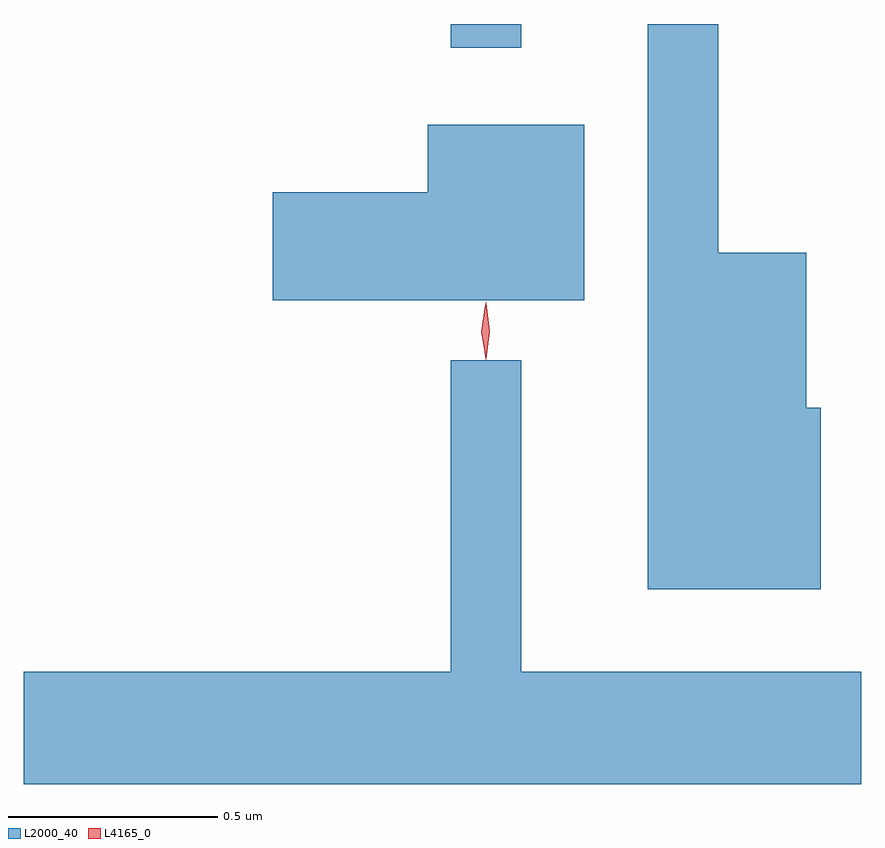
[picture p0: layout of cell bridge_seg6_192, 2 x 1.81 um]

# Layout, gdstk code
import gdstk
lib = gdstk.Library(unit=1e-6, precision=1e-09)
def R(c, l, rs):  # rectangles x0, y0, x1, y1
    for r in rs: c.add(gdstk.rectangle(r[:2], r[2:], *l))
def P(c, l, *ps):  # polygons
    for p in ps: c.add(gdstk.Polygon(p, *l))
L2000_40 = (2000, 40)
L4165_0 = (4165, 0)

bridge_seg6_192 = lib.new_cell('bridge_seg6_192')
R(bridge_seg6_192, L2000_40, [(1063.391,1578.433,1063.559,1578.49)])
P(bridge_seg6_192, L2000_40, [(1064.274,1577.574),(1064.239,1577.574),(1064.239,1577.944),(1064.029,1577.944),(1064.029,1578.49),(1063.861,1578.49),(1063.861,1577.141),(1064.274,1577.141)],
  [(1063.709,1578.249),(1063.336,1578.249),(1063.336,1578.089),(1062.966,1578.089),(1062.966,1577.831),(1063.709,1577.831)],
  [(1063.391,1577.688),(1063.391,1576.944),(1062.371,1576.944),(1062.371,1576.676),(1064.371,1576.676),(1064.371,1576.944),(1063.559,1576.944),(1063.559,1577.688)])
P(bridge_seg6_192, L4165_0, [(1063.475,1577.693),(1063.474,1577.694),(1063.464,1577.756),(1063.473,1577.819),(1063.473,1577.82),(1063.474,1577.819),(1063.484,1577.756),(1063.475,1577.694)],
  [(1063.474,1577.69),(1063.465,1577.758),(1063.474,1577.825),(1063.474,1577.826),(1063.475,1577.825),(1063.484,1577.758),(1063.476,1577.69),(1063.475,1577.69)])

lib.write_gds('bridge_seg6_192.gds')
